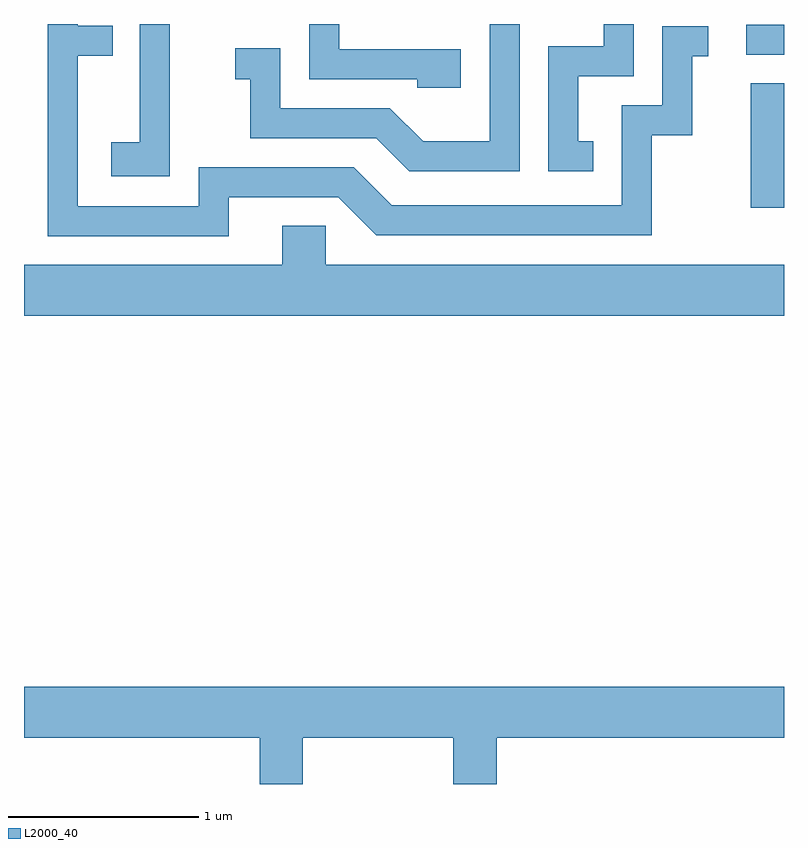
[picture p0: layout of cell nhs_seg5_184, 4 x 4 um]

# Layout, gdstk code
import gdstk
lib = gdstk.Library(unit=1e-6, precision=1e-09)
def R(c, l, rs):  # rectangles x0, y0, x1, y1
    for r in rs: c.add(gdstk.rectangle(r[:2], r[2:], *l))
def P(c, l, *ps):  # polygons
    for p in ps: c.add(gdstk.Polygon(p, *l))
L2000_40 = (2000, 40)

nhs_seg5_184 = lib.new_cell('nhs_seg5_184')
R(nhs_seg5_184, L2000_40, [(193.436,1495.106,193.611,1495.759), (193.413,1495.911,193.611,1496.069)])
P(nhs_seg5_184, L2000_40, [(190.689,1495.161),(191.264,1495.161),(191.464,1494.961),(192.914,1494.961),(192.914,1495.486),(193.129,1495.486),(193.129,1495.901),(193.213,1495.901),(193.213,1496.059),(192.971,1496.059),(192.971,1495.644),(192.756,1495.644),(192.756,1495.119),(191.547,1495.119),(191.347,1495.319),(190.531,1495.319),(190.531,1495.114),(189.894,1495.114),(189.894,1495.906),(190.078,1495.906),(190.078,1496.064),(189.894,1496.064),(189.894,1496.072),(189.736,1496.072),(189.736,1494.956),(190.689,1494.956)],
  [(192.219,1496.072),(192.061,1496.072),(192.061,1495.454),(191.712,1495.454),(191.537,1495.629),(190.959,1495.629),(190.959,1495.944),(190.723,1495.944),(190.723,1495.781),(190.801,1495.781),(190.801,1495.471),(191.464,1495.471),(191.639,1495.296),(192.219,1495.296)],
  [(190.379,1496.072),(190.221,1496.072),(190.221,1495.449),(190.071,1495.449),(190.071,1495.271),(190.379,1495.271)],
  [(191.909,1495.939),(191.269,1495.939),(191.269,1496.072),(191.111,1496.072),(191.111,1495.781),(191.681,1495.781),(191.681,1495.736),(191.909,1495.736)],
  [(192.608,1495.454),(192.529,1495.454),(192.529,1495.796),(192.819,1495.796),(192.819,1496.072),(192.661,1496.072),(192.661,1495.954),(192.371,1495.954),(192.371,1495.296),(192.608,1495.296)],
  [(193.611,1494.804),(191.199,1494.804),(191.199,1495.009),(190.971,1495.009),(190.971,1494.804),(189.611,1494.804),(189.611,1494.536),(193.611,1494.536)],
  [(191.079,1492.316),(191.871,1492.316),(191.871,1492.072),(192.099,1492.072),(192.099,1492.316),(193.611,1492.316),(193.611,1492.584),(189.611,1492.584),(189.611,1492.316),(190.851,1492.316),(190.851,1492.072),(191.079,1492.072)])

lib.write_gds('nhs_seg5_184.gds')
